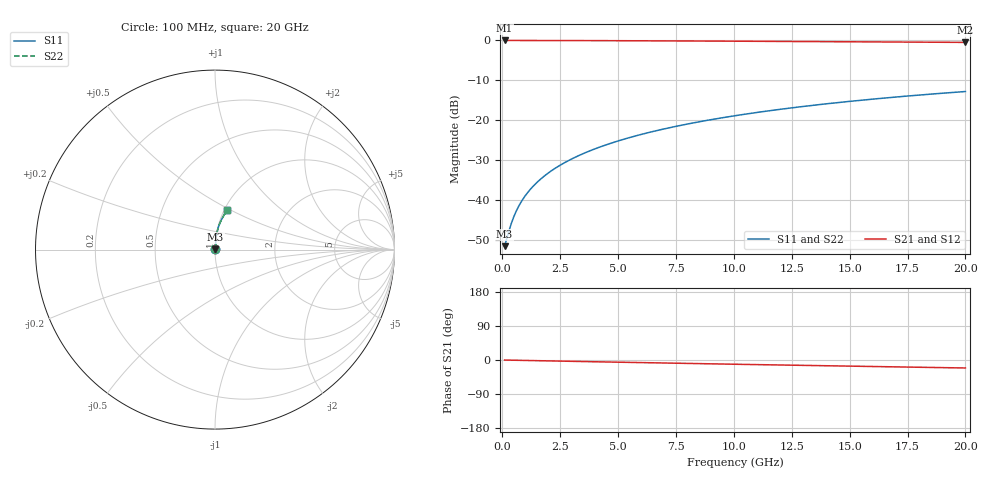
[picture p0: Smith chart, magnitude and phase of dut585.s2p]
! Touchstone file exported from HFSS 2024.1.0
!  File:  C:/UserFiles/LocalFiles/RDL_TSV_Batchsim/temp_RDL_bottom_585_1779690807.aedt
!  Generated:  02:36:11 PM May 25, 2026
!  Design:  RDL_bottom
!  Project:  temp_RDL_bottom_585_1779690807
!  Setup:  Setup1
!  Solution:  Sweep
! Variables:
!  dtsv = 10.80580581um
!  hbump = 3um
!  htsv = 96.09um
!  ldown = 273.9um
!  lrdl = 100um
!  p = 40
!  p1 = 40.45um
!  rhole = 1um
!  t = 450um
!  tdown = 2.63um
!  trdl = 3.915915916um
!  wdown = 17.54um
!  wrdl = 20um
# GHz S MA R 50.000000
! Terminal data exported
! Port[1] = RDL1_T1
! Port[2] = RDL1_T2
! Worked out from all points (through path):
!   200 points, 100 MHz to 20 GHz, reference 50 ohm
!   highest |S21| = -0.02 dB at 100 MHz (marker M1); lowest = -0.5 dB at 20 GHz (marker M2)
!   group delay of S21, straight-line fit = 2.91 ps
!   lowest |S11| = -51.6 dB at 100 MHz (marker M3), VSWR 1.01, Z = 50.2 + j0.118 ohm
!   |S11| at or under -10 dB: start of sweep to end of sweep
!   |S22| runs from -51.6 to -12.8 dB; largest |S21 - S12| = 7.3e-15
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0.1  0.002638 26.4  0.9976 -0.1  0.9976 -0.1  0.002638 26.4
! Gamma 0 0 0 0
! Port Impedance 50 0 50 0
0.3  0.004208 54.6  0.9975 -0.4  0.9975 -0.4  0.00421 54.8
0.4  0.005182 61.3  0.9974 -0.5  0.9974 -0.5  0.005189 61.4
0.5  0.006196 65.7  0.9973 -0.6  0.9973 -0.6  0.006205 65.8
0.6  0.007226 68.9  0.9972 -0.7  0.9972 -0.7  0.007236 68.9
0.7  0.008264 71.2  0.9971 -0.8  0.9971 -0.8  0.008273 71.2
0.9  0.01035 74.5  0.997 -1.1  0.997 -1.1  0.01035 74.5
1.2  0.01348 77.6  0.9967 -1.4  0.9967 -1.4  0.01349 77.6
1.4  0.01558 79.0  0.9966 -1.7  0.9966 -1.7  0.01558 79.0
1.7  0.01875 80.6  0.9963 -2.0  0.9963 -2.0  0.01875 80.6
2.2  0.02407 82.3  0.9957 -2.6  0.9957 -2.6  0.02407 82.3
2.8  0.03054 83.5  0.9949 -3.3  0.9949 -3.3  0.03054 83.5
3.5  0.03819 84.3  0.9938 -4.1  0.9938 -4.1  0.03819 84.3
4.2  0.04594 84.7  0.9925 -4.9  0.9925 -4.9  0.04594 84.7
5  0.05492 84.8  0.9908 -5.8  0.9908 -5.8  0.05492 84.8
5.9  0.06517 84.7  0.9886 -6.8  0.9886 -6.8  0.06517 84.7
6.8  0.07555 84.4  0.9863 -7.8  0.9863 -7.8  0.07556 84.4
8.4  0.09426 83.5  0.9818 -9.5  0.9818 -9.5  0.09427 83.5
10.1  0.1143 82.2  0.9767 -11.3  0.9767 -11.3  0.1144 82.2
13.4  0.1533 79.2  0.9661 -14.6  0.9661 -14.6  0.1534 79.3
16.7  0.1916 76.0  0.955 -17.9  0.955 -17.9  0.1917 76.0
20  0.2287 72.6  0.9435 -21.1  0.9435 -21.1  0.2287 72.7
